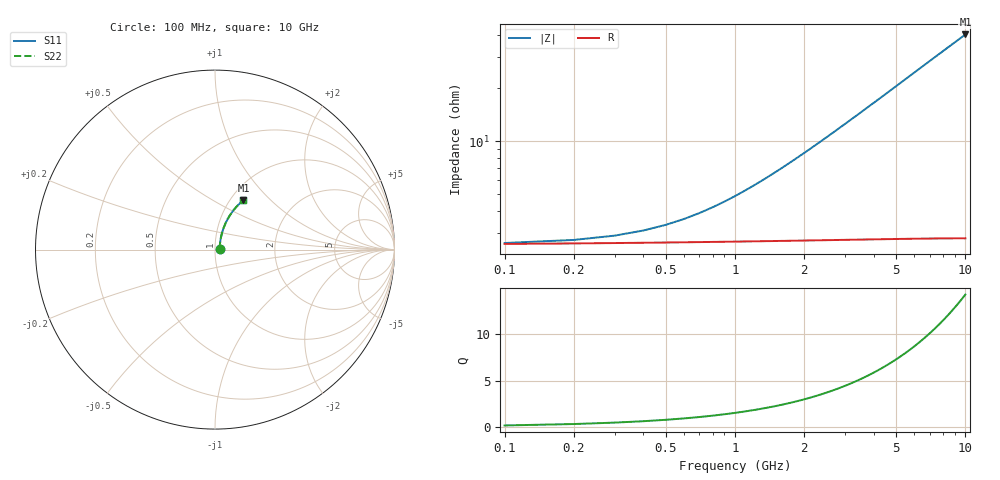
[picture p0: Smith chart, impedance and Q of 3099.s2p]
# Hz S RI R 50.00
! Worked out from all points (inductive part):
!   100 points, 100 MHz to 10 GHz, reference 50 ohm
!   read as one part in series: L = 647 pH near 2.1 GHz
!   highest Q = 14.3 at 10 GHz (marker M1), where L = 639 pH
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1e8  0.0255 0.00328  0.9745 -0.00445  0.9745 -0.00445  0.0255 0.00328
2e8  0.0257 0.00656  0.9743 -0.00891  0.9743 -0.00891  0.0257 0.00656
3e8  0.0259 0.00983  0.9741 -0.0134  0.9741 -0.0134  0.0259 0.00983
4e8  0.0261 0.0131  0.9739 -0.0178  0.9739 -0.0178  0.0261 0.0131
6e8  0.0266 0.0196  0.9734 -0.0267  0.9734 -0.0267  0.0266 0.0196
1e9  0.0278 0.0327  0.9722 -0.0444  0.9722 -0.0444  0.0278 0.0327
1.2e9  0.0285 0.0392  0.9714 -0.0533  0.9714 -0.0533  0.0285 0.0392
1.5e9  0.0298 0.0489  0.97 -0.0665  0.97 -0.0665  0.0298 0.0489
1.8e9  0.0314 0.0586  0.9683 -0.0797  0.9683 -0.0797  0.0314 0.0586
2.1e9  0.0332 0.0682  0.9664 -0.0928  0.9664 -0.0928  0.0332 0.0682
2.5e9  0.0361 0.0809  0.9635 -0.1102  0.9635 -0.1102  0.0361 0.0809
2.9e9  0.0393 0.0934  0.9601 -0.1275  0.9601 -0.1275  0.0393 0.0934
3.4e9  0.044 0.1089  0.9551 -0.1489  0.9551 -0.1489  0.044 0.1089
3.8e9  0.0483 0.1211  0.9507 -0.1657  0.9507 -0.1657  0.0483 0.1211
4.2e9  0.0529 0.133  0.9458 -0.1824  0.9458 -0.1824  0.0529 0.133
4.6e9  0.058 0.1448  0.9405 -0.1989  0.9405 -0.1989  0.058 0.1448
5.1e9  0.0649 0.1592  0.9333 -0.2192  0.9333 -0.2192  0.0649 0.1592
5.9e9  0.0771 0.1813  0.9204 -0.2508  0.9204 -0.2508  0.0771 0.1813
6.7e9  0.0907 0.2023  0.9061 -0.2813  0.9061 -0.2813  0.0907 0.2023
7.5e9  0.1055 0.2222  0.8904 -0.3106  0.8904 -0.3106  0.1055 0.2222
8.4e9  0.1236 0.2429  0.8713 -0.342  0.8713 -0.342  0.1236 0.2429
1e10  0.1587 0.2754  0.8341 -0.3936  0.8341 -0.3936  0.1587 0.2754
